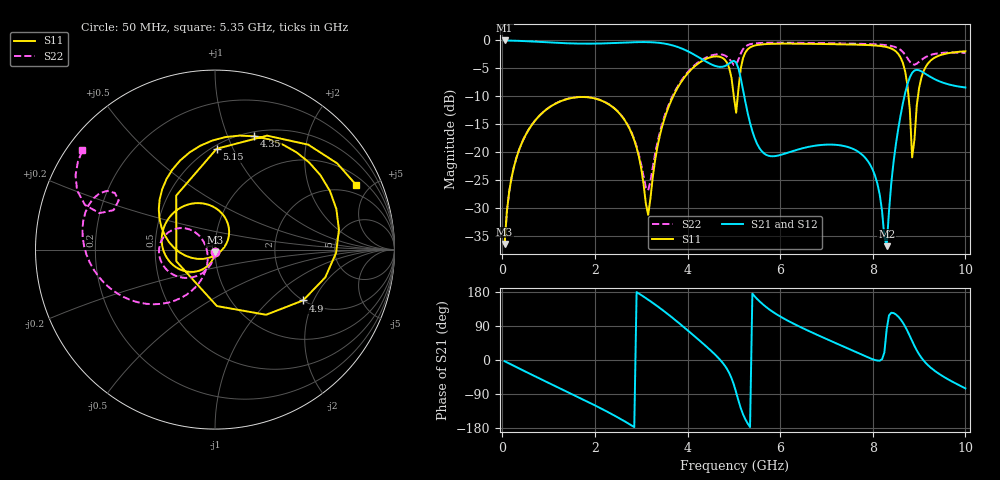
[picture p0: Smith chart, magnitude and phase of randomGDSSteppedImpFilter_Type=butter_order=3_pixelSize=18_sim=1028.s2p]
! freq	dB(S11)	phase(S11)	dB(S12)	phase(S12)
!  dB(S21)	phase(S21)	dB(S22)	phase(S22)
!S-par simulation data
#  GHz  S  DB  R 50
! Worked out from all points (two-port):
!   200 points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, 50 MHz to 10 GHz, reference 50 ohm
!   highest |S21| = -0.01 dB at 50 MHz (marker M1); lowest = -36.8 dB at 8.3 GHz (marker M2)
!   |S21| within 3 dB of the highest: start of sweep to 4.239 GHz
!   lowest |S11| = -36.5 dB at 50 MHz (marker M3), VSWR 1.03, Z = 49.9 - j1.5 ohm
!   |S11| at or under -10 dB: start of sweep to 3.691 GHz; 4.999 GHz to 5.084 GHz (84.59 MHz wide, 1.68 % of centre); 8.772 GHz to 8.977 GHz (204.6 MHz wide, 2.31 % of centre)
!   |S22| runs from -36.5 to -0.4 dB; largest |S21 - S12| = 0
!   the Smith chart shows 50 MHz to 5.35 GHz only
!   S11 on the Smith chart (normalised r, x): 50 MHz: 1.00, -0.03; 4.35 GHz: 0.55, +1.25; 4.9 GHz: 2.00, -1.67; 5.15 GHz: 0.53, +0.87; 5.35 GHz: 1.44, +4.12
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0.05  -36.46 -93.3  -0.01 -3.1  -0.01 -3.1  -36.45 -92.4
0.5  -17.00 -125.3  -0.13 -30.6  -0.13 -30.6  -16.99 -116.8
1.75  -10.13 147.8  -0.58 -104.6  -0.58 -104.6  -10.11 -177.8
2.7  -15.06 69.0  -0.37 -165.9  -0.37 -165.9  -14.99 141.3
3.15  -31.24 -60.5  -0.30 159.2  -0.30 159.2  -26.85 -161.3
3.4  -17.12 -160.9  -0.44 137.4  -0.44 137.4  -16.52 -113.7
3.9  -7.00 131.2  -1.53 88.8  -1.53 88.8  -6.78 -138.3
4.35  -3.51 71.1  -3.55 41.7  -3.55 41.7  -3.28 -170.7
4.7  -2.94 18.5  -4.74 1.0  -4.74 1.0  -2.48 164.2
4.9  -4.93 -30.0  -4.13 -34.2  -4.13 -34.2  -3.30 151.4
5.05  -12.95 -163.2  -3.95 -85.5  -3.95 -85.5  -4.36 158.7
5.15  -5.01 89.1  -6.80 -127.3  -6.80 -127.3  -2.31 161.0
5.35  -1.26 24.5  -14.79 -176.9  -14.79 -176.9  -0.69 143.1
5.95  -0.59 -43.9  -20.63 118.6  -20.63 118.6  -0.41 107.2
6.7  -0.61 -95.0  -18.93 71.9  -18.93 71.9  -0.46 70.2
7.9  -0.83 -164.2  -21.69 6.8  -21.69 6.8  -0.65 9.4
8.3  -1.19 166.1  -36.85 80.7  -36.85 80.7  -0.86 -13.9
8.35  -1.30 161.3  -30.63 117.6  -30.63 117.6  -0.91 -17.2
8.7  -5.58 103.8  -9.40 88.2  -9.40 88.2  -2.58 -41.7
8.85  -20.95 20.2  -5.81 50.0  -5.81 50.0  -4.25 -42.0
9.15  -4.63 -162.5  -6.05 -8.5  -6.05 -8.5  -2.94 -43.0
10  -1.94 129.6  -8.43 -74.8  -8.43 -74.8  -2.24 -91.3
